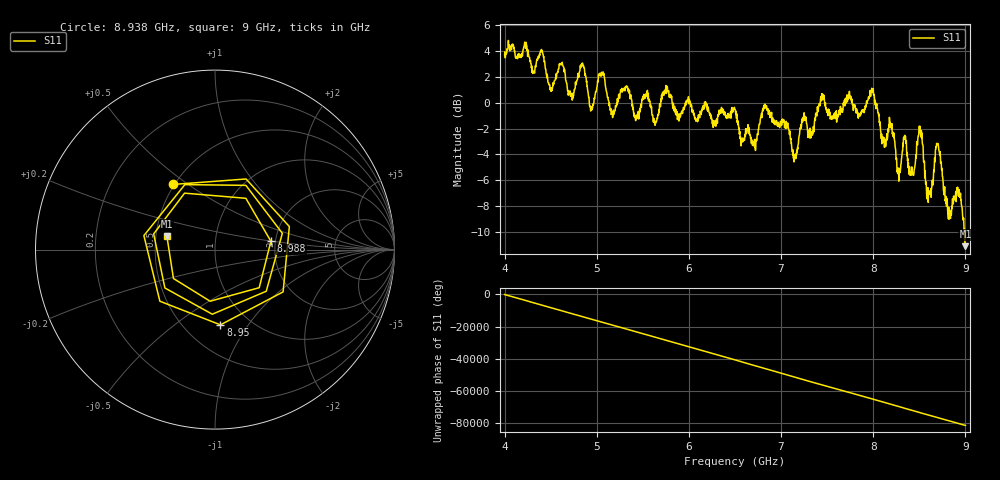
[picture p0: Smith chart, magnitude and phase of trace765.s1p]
! Created with skrf 1.8.0 (http://scikit-rf.org).
# Hz S RI R 50.0
!freq ReS11 ImS11
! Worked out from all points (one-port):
!   1601 points, 4 GHz to 9 GHz, reference 50 ohm
!   lowest |S11| = -11.1 dB at 9 GHz (marker M1), VSWR 1.77, Z = 28.6 + j4.65 ohm
!   |S11| at or under -10 dB: 8.987698 GHz to 8.988408 GHz (710 kHz wide, 0.0079 % of centre); 8.991703 GHz to end of sweep
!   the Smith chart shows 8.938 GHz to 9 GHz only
!   S11 on the Smith chart (normalised r, x): 8.938 GHz: 0.49, +0.44; 8.95 GHz: 0.74, -0.75; 8.988 GHz: 1.89, +0.20; 9 GHz: 0.57, +0.09
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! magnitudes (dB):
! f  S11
! 4 GHz  3.7
! 4.4 GHz  4.1
! 4.503 GHz  0.9
! 4.625 GHz  3.1
! 4.722 GHz  0.5
! 4.844 GHz  3.1
! 4.944 GHz  -0.4
! 5.044 GHz  2.1
! 5.166 GHz  -0.7
! 5.25 GHz  0.6
! 5.875 GHz  -1.3
! 6.5 GHz  -0.5
! 6.703 GHz  -3.0
! 6.834 GHz  -0.2
! 7.125 GHz  -3.8
! 7.444 GHz  0.3
! 7.75 GHz  0.4
! 7.988 GHz  0.8
! 8.272 GHz  -5.5
! 8.375 GHz  -4.3
! 8.509 GHz  -1.8
! 8.603 GHz  -6.9
! 8.7 GHz  -3.2
! 8.812 GHz  -8.6
! 8.938 GHz  -7.3
! 8.95 GHz  -7.5
! 8.988 GHz  -10.0
! 9 GHz  -11.1
